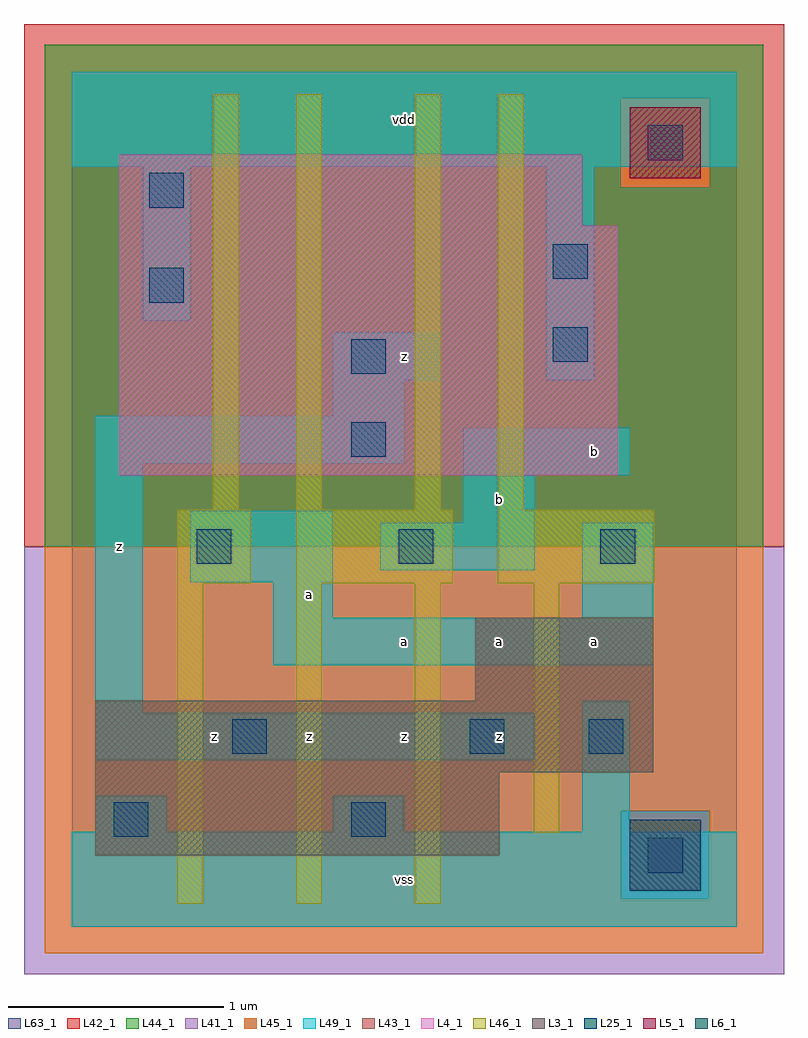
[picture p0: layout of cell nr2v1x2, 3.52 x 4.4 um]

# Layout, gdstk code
import gdstk
lib = gdstk.Library(unit=1e-6, precision=1e-09)
def R(c, l, rs):  # rectangles x0, y0, x1, y1
    for r in rs: c.add(gdstk.rectangle(r[:2], r[2:], *l))
def A(c, l, x, y, w, h, nx, ny, dx, dy):  # array of equal rectangles
    R(c, l, [(x+i*dx, y+j*dy, x+i*dx+w, y+j*dy+h) for i in range(nx) for j in range(ny)])
L3_1 = (3, 1)
L4_1 = (4, 1)
L5_1 = (5, 1)
L6_1 = (6, 1)
L25_1 = (25, 1)
L41_1 = (41, 1)
L42_1 = (42, 1)
L43_1 = (43, 1)
L44_1 = (44, 1)
L45_1 = (45, 1)
L46_1 = (46, 1)
L49_1 = (49, 1)
L63_1 = (63, 1)

nr2v1x2 = lib.new_cell('nr2v1x2')
R(nr2v1x2, L3_1, [(0.11,0.33,1.98,0.715), (0.11,0.715,2.695,1.045), (1.87,1.045,2.695,1.43)])
R(nr2v1x2, L4_1, [(0.22,2.09,2.53,3.245), (0.22,3.245,2.365,3.575)])
R(nr2v1x2, L5_1, [(2.585,3.465,2.915,3.795)])
R(nr2v1x2, L6_1, [(2.585,0.165,2.915,0.495)])
A(nr2v1x2, L25_1, 0.58, 1.68, 0.16, 0.16, 3, 1, 0.935, 0)
R(nr2v1x2, L25_1, [(2.67,0.25,2.83,0.41), (0.195,0.415,0.355,0.575), (1.295,0.415,1.455,0.575), (0.745,0.8,0.905,0.96), (1.845,0.8,2.005,0.96), (2.395,0.8,2.555,0.96), (1.295,2.175,1.455,2.335), (1.295,2.56,1.455,2.72), (2.23,2.615,2.39,2.775), (0.36,2.89,0.52,3.05), (2.23,3,2.39,3.16), (0.36,3.33,0.52,3.49), (2.67,3.55,2.83,3.71)])
R(nr2v1x2, L41_1, [(-0.22,-0.22,3.3,1.76)])
R(nr2v1x2, L42_1, [(-0.22,1.76,3.3,4.18)])
R(nr2v1x2, L43_1, [(2.585,0.165,2.915,0.495), (0.11,0.33,1.98,0.715), (0.11,0.715,2.695,1.045), (1.87,1.045,2.695,1.43), (0.22,2.09,2.53,3.245), (0.22,3.245,2.365,3.575), (2.585,3.465,2.915,3.795)])
R(nr2v1x2, L44_1, [(2.545,0.125,2.955,0.535), (-0.125,1.76,3.205,3.425), (-0.125,3.425,2.545,3.835), (2.955,3.425,3.205,3.835), (-0.125,3.835,3.205,4.085)])
R(nr2v1x2, L45_1, [(-0.125,-0.125,3.205,0.125), (-0.125,0.125,2.545,0.535), (2.955,0.125,3.205,0.535), (-0.125,0.535,3.205,1.76), (2.545,3.425,2.955,3.835)])
A(nr2v1x2, L46_1, 0.49, 0.105, 0.12, 1.485, 3, 1, 0.55, 0)
R(nr2v1x2, L46_1, [(2.14,0.435,2.26,1.59), (0.49,1.59,0.83,1.93), (1.04,1.59,1.765,1.93), (1.975,1.59,2.7,1.93), (0.655,1.93,0.775,3.855), (1.04,1.93,1.16,3.855), (1.59,1.93,1.71,3.855), (1.975,1.93,2.095,3.855)])
R(nr2v1x2, L49_1, [(0,0,3.08,0.44), (0.11,0.44,0.44,0.605), (1.21,0.44,1.54,0.605), (2.365,0.44,2.585,1.045), (0.11,0.77,2.145,0.99), (0.11,0.99,0.33,2.145), (0.935,1.21,2.695,1.43), (0.935,1.43,1.21,1.595), (2.365,1.43,2.695,1.87), (0.55,1.595,1.21,1.925), (1.43,1.65,2.145,1.87), (1.815,1.87,2.145,2.09), (1.815,2.09,2.585,2.31), (0.11,2.145,1.54,2.365), (1.21,2.365,1.54,2.53), (1.21,2.53,1.705,2.75), (2.2,2.53,2.42,3.52), (0.33,2.805,0.55,3.52), (0,3.52,3.08,3.96)])
R(nr2v1x2, L63_1, [(0,0,3.08,3.96)])
nr2v1x2.add(gdstk.Label('z', (0.22,1.76), layer=49, texttype=1))
nr2v1x2.add(gdstk.Label('z', (1.1,0.88), layer=49, texttype=1))
nr2v1x2.add(gdstk.Label('z', (0.66,0.88), layer=49, texttype=1))
nr2v1x2.add(gdstk.Label('a', (1.1,1.54), layer=49, texttype=1))
nr2v1x2.add(gdstk.Label('vss', (1.54,0.22), layer=49, texttype=1))
nr2v1x2.add(gdstk.Label('z', (1.98,0.88), layer=49, texttype=1))
nr2v1x2.add(gdstk.Label('z', (1.54,0.88), layer=49, texttype=1))
nr2v1x2.add(gdstk.Label('a', (1.54,1.32), layer=49, texttype=1))
nr2v1x2.add(gdstk.Label('a', (1.98,1.32), layer=49, texttype=1))
nr2v1x2.add(gdstk.Label('b', (1.98,1.98), layer=49, texttype=1))
nr2v1x2.add(gdstk.Label('z', (1.54,2.64), layer=49, texttype=1))
nr2v1x2.add(gdstk.Label('vdd', (1.54,3.74), layer=49, texttype=1))
nr2v1x2.add(gdstk.Label('a', (2.42,1.32), layer=49, texttype=1))
nr2v1x2.add(gdstk.Label('b', (2.42,2.2), layer=49, texttype=1))

lib.write_gds('nr2v1x2.gds')
